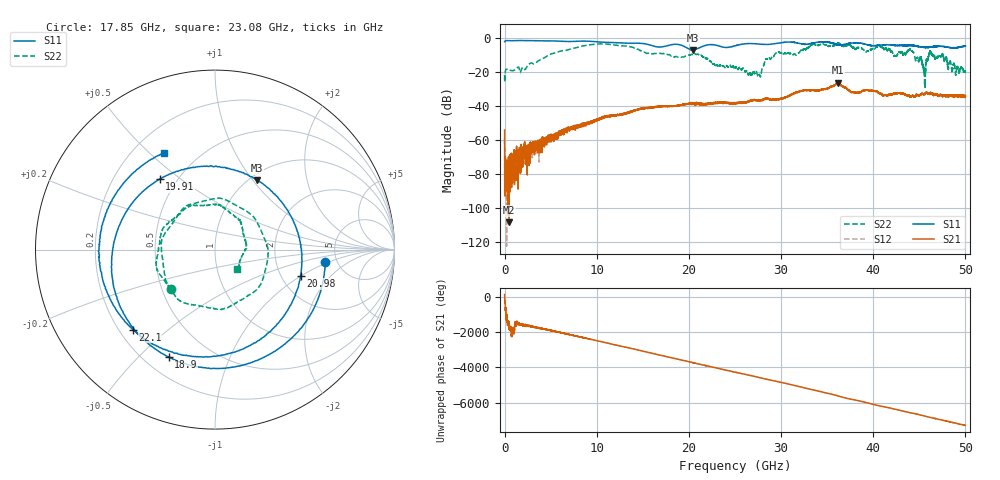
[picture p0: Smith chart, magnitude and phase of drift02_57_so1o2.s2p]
!Created with skrf (http://scikit-rf.org).
# Hz S RI R 50.0
!freq ReS11 ImS11 ReS21 ImS21 ReS12 ImS12 ReS22 ImS22
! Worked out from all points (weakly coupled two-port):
!   10001 points, 300 kHz to 50 GHz, reference 50 ohm
!   highest |S21| = -26.21 dB at 36.14 GHz (marker M1); lowest = -108.3 dB at 460.3 MHz (marker M2)
!   lowest |S11| = -6.9 dB at 20.41 GHz (marker M3), VSWR 2.65, Z = 54.2 + j52.5 ohm
!   |S11| at or under -10 dB: nowhere
!   |S22| runs from -29.2 to -2.7 dB; largest |S21 - S12| = 0.0054
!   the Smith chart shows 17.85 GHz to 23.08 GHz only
!   S11 on the Smith chart (normalised r, x): 17.85 GHz: 4.03, -0.86; 18.9 GHz: 0.30, -0.62; 19.91 GHz: 0.40, +0.42; 20.98 GHz: 2.56, -0.99; 22.1 GHz: 0.25, -0.38; 23.08 GHz: 0.32, +0.56
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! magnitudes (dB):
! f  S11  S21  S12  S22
! 300 kHz  -2.1  -54.1  -59.1  -21.6
! 255.3 MHz  -1.4  -73.8  -75.6  -18.2
! 460.3 MHz  -1.4  -108.3  -70.6  -18.5
! 8.335 GHz  -1.7  -50.7  -51.5  -4.7
! 16.67 GHz  -5.2  -40.3  -40.3  -9.0
! 17.85 GHz  -4.2  -40.0  -39.9  -9.6
! 18.9 GHz  -3.7  -39.7  -39.6  -10.9
! 19.91 GHz  -6.0  -38.5  -38.5  -9.9
! 20.41 GHz  -6.9  -38.7  -38.5  -9.7
! 20.98 GHz  -6.0  -38.4  -38.4  -9.3
! 22.1 GHz  -3.9  -38.4  -38.6  -12.5
! 23.08 GHz  -4.3  -37.7  -37.9  -15.8
! 25 GHz  -4.5  -38.3  -38.2  -17.8
! 27.63 GHz  -3.5  -36.8  -36.6  -21.4
! 29.54 GHz  -3.0  -35.9  -36.0  -8.8
! 33.34 GHz  -3.0  -30.6  -30.6  -3.8
! 36.14 GHz  -3.8  -26.2  -27.0  -3.1
! 41.67 GHz  -3.9  -33.2  -33.4  -6.1
! 44.14 GHz  -4.3  -34.2  -34.1  -7.1
! 45.5 GHz  -5.3  -32.7  -33.1  -17.5
! 46.27 GHz  -5.2  -32.1  -32.4  -8.4
! 50 GHz  -4.7  -34.3  -34.2  -19.9
